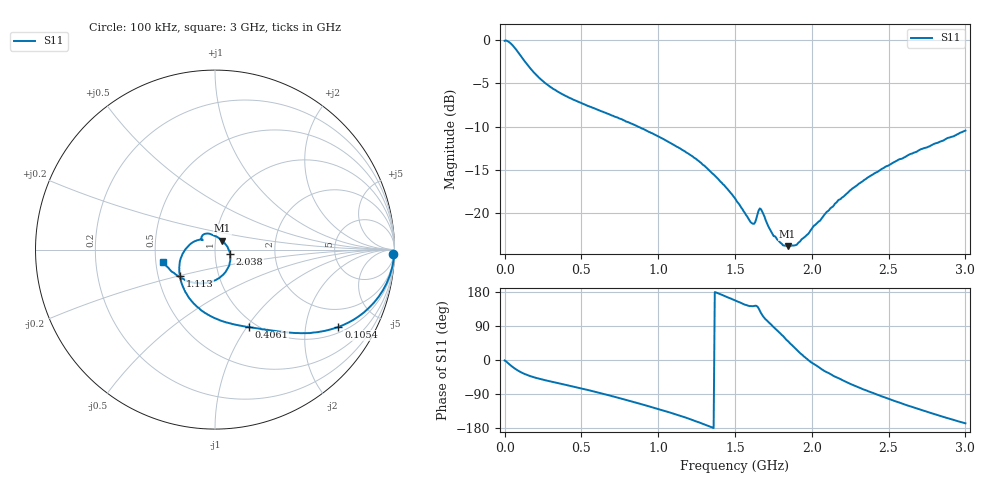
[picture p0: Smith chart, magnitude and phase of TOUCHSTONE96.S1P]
!Agilent Technologies,E5071C,MY46107164,A.09.30
!Date: Mon Jan 01 00:17:23 2001
!Data & Calibration Information:
!Freq	S11:SOLT1(ON)
# Hz S dB R 50
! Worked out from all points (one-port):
!   400 points, 100 kHz to 3 GHz, reference 50 ohm
!   lowest |S11| = -23.9 dB at 1.842 GHz (marker M1), VSWR 1.14, Z = 54 + j5.38 ohm
!   |S11| at or under -10 dB: 867.9 MHz to end of sweep
!   S11 on the Smith chart (normalised r, x): 100 kHz: 26, -81; 105.4 MHz: 1.20, -3.04; 406.1 MHz: 0.92, -1.02; 1.113 GHz: 0.65, -0.20; 2.038 GHz: 1.18, -0.06; 3 GHz: 0.54, -0.08
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100000  -0.06 -1.3
2.265564e7  -0.13 -8.4
5.272982e7  -0.60 -18.5
7.528546e7  -1.09 -25.0
1.053596e8  -1.82 -32.1
1.579895e8  -3.05 -41.3
2.181378e8  -4.24 -48.7
3.760273e8  -6.25 -63.5
4.061015e8  -6.52 -66.4
7.519546e8  -9.08 -101.0
9.098441e8  -10.34 -118.7
1.112845e9  -12.24 -143.1
1.127882e9  -12.38 -145.1
1.300809e9  -14.53 -170.0
1.503809e9  -18.41 156.6
1.616587e9  -21.26 142.0
1.631625e9  -21.06 143.2
1.65418e9  -19.71 136.0
1.669217e9  -19.58 123.9
1.751921e9  -22.69 86.7
1.842144e9  -23.85 50.7
1.879737e9  -23.79 35.7
2.037626e9  -21.12 -16.6
2.255664e9  -17.32 -63.8
2.458665e9  -14.87 -96.3
2.631591e9  -13.26 -121.0
2.812036e9  -11.91 -144.4
3e9  -10.46 -167.1
